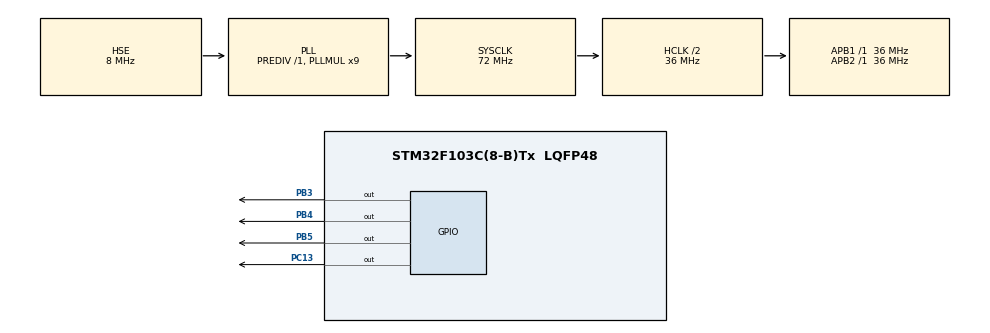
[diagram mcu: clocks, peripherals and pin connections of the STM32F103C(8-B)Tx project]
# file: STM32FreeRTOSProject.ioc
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FREERTOS.Queues01=myQueueForLed,16,uint16_t,0,Dynamic,NULL,NULL
FREERTOS.Tasks01=defaultTask,24,128,StartDefaultTask,Default,NULL,Dynamic,NULL,NULL;task2Led1000mse,24,128,StartTask02,Default,NULL,Dynamic,NULL,NULL;task3LedMessage,24,128,StartTask03,Default,NULL,Dynamic,NULL,NULL;task4LedMessage,24,128,StartTask04,Default,NULL,Dynamic,NULL,NULL
FREERTOS.configTICK_RATE_HZ=1000
FREERTOS.configUSE_PREEMPTION=1
Mcu.Family=STM32F1
Mcu.Name=STM32F103C(8-B)Tx
Mcu.Package=LQFP48
NVIC.PriorityGroup=NVIC_PRIORITYGROUP_4
NVIC.TIM4_IRQn=true\:0\:0\:false\:false\:true\:false\:false\:true
NVIC.TimeBase=TIM4_IRQn
NVIC.TimeBaseIP=TIM4
PB3.Signal=GPIO_Output
PB4.Signal=GPIO_Output
PB5.Signal=GPIO_Output
PC13-TAMPER-RTC.Signal=GPIO_Output
PD0-OSC_IN.Mode=HSE-External-Oscillator
PD0-OSC_IN.Signal=RCC_OSC_IN
PD1-OSC_OUT.Mode=HSE-External-Oscillator
PD1-OSC_OUT.Signal=RCC_OSC_OUT
ProjectManager.HeapSize=0x200
ProjectManager.StackSize=0x400
ProjectManager.TargetToolchain=STM32CubeIDE
RCC.AHBCLKDivider=RCC_SYSCLK_DIV2
RCC.AHBFreq_Value=36000000
RCC.APB1Freq_Value=36000000
RCC.APB1TimFreq_Value=36000000
RCC.APB2Freq_Value=36000000
RCC.APB2TimFreq_Value=36000000
RCC.HCLKFreq_Value=36000000
RCC.PLLMUL=RCC_PLL_MUL9
RCC.PLLSourceVirtual=RCC_PLLSOURCE_HSE
RCC.SYSCLKFreq_VALUE=72000000
RCC.SYSCLKSource=RCC_SYSCLKSOURCE_PLLCLK
RCC.USBFreq_Value=72000000
VP_FREERTOS_VS_CMSIS_V2.Mode=CMSIS_V2
VP_SYS_VS_ND.Mode=No_Debug
VP_SYS_VS_tim4.Mode=TIM4
board=custom

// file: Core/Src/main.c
/* USER CODE BEGIN Header */
/**
  ******************************************************************************
  * @file           : main.c
  * @brief          : Main program body
  ******************************************************************************
  * @attention
  *
  * <h2><center>&copy; Copyright (c) 2020 STMicroelectronics.
  * All rights reserved.</center></h2>
  *
  * This software component is licensed by ST under BSD 3-Clause license,
  * the "License"; You may not use this file except in compliance with the
  * License. You may obtain a copy of the License at:
  *                        opensource.org/licenses/BSD-3-Clause
  *
  ******************************************************************************
  */
/* USER CODE END Header */

#include "main.h"
#include "cmsis_os.h"

/* USER CODE BEGIN PD */
#define DEFAULT_VAL_MSG_QUEUE 3
#define SIGNAL_WAIT_ID	0x0001

#define USE_SIGNAL_WAIT		1
#define USE_MESSAGE_QUEUE	0

#define FLAGS_MSK1 0x00000001U
#define FLAGS_MSK2 0x00000002U
/* USER CODE END PD */

/* Definitions for defaultTask */
osThreadId_t defaultTaskHandle;
const osThreadAttr_t defaultTask_attributes = {
  .name = "defaultTask",
  .priority = (osPriority_t) osPriorityNormal,
  .stack_size = 128 * 4
};
/* Definitions for task2Led1000mse */
osThreadId_t task2Led1000mseHandle;
const osThreadAttr_t task2Led1000mse_attributes = {
  .name = "task2Led1000mse",
  .priority = (osPriority_t) osPriorityNormal,
  .stack_size = 128 * 4
};
/* Definitions for task3LedMessage */
osThreadId_t task3LedMessageHandle;
const osThreadAttr_t task3LedMessage_attributes = {
  .name = "task3LedMessage",
  .priority = (osPriority_t) osPriorityNormal,
  .stack_size = 128 * 4
};
/* Definitions for task4LedMessage */
osThreadId_t task4LedMessageHandle;
const osThreadAttr_t task4LedMessage_attributes = {
  .name = "task4LedMessage",
  .priority = (osPriority_t) osPriorityNormal,
  .stack_size = 128 * 4
};
/* Definitions for myQueueForLed */
osMessageQueueId_t myQueueForLedHandle;
const osMessageQueueAttr_t myQueueForLed_attributes = {
  .name = "myQueueForLed"
};

void SystemClock_Config(void);
static void MX_GPIO_Init(void);
void StartDefaultTask(void *argument);
void StartTask02(void *argument);
void StartTask03(void *argument);
void StartTask04(void *argument);

osEventFlagsId_t evt_id;                        // event flags id

int main(void)
{

  /* MCU Configuration--------------------------------------------------------*/

  /* Reset of all peripherals, Initializes the Flash interface and the Systick. */
  HAL_Init();

  /* Configure the system clock */
  SystemClock_Config();

  /* Initialize all configured peripherals */
  MX_GPIO_Init();

  /* Init scheduler */
  osKernelInitialize();

  /* USER CODE BEGIN RTOS_MUTEX */
  /* add mutexes, ... */
  evt_id = osEventFlagsNew(NULL);
  /* USER CODE END RTOS_MUTEX */

  /* Create the queue(s) */
  /* creation of myQueueForLed */
  myQueueForLedHandle = osMessageQueueNew (16, sizeof(uint16_t), &myQueueForLed_attributes);

  /* Create the thread(s) */
  /* creation of defaultTask */
  defaultTaskHandle = osThreadNew(StartDefaultTask, NULL, &defaultTask_attributes);

  /* creation of task2Led1000mse */
  task2Led1000mseHandle = osThreadNew(StartTask02, NULL, &task2Led1000mse_attributes);

  /* creation of task3LedMessage */
  task3LedMessageHandle = osThreadNew(StartTask03, NULL, &task3LedMessage_attributes);

  /* creation of task4LedMessage */
  task4LedMessageHandle = osThreadNew(StartTask04, NULL, &task4LedMessage_attributes);

  /* Start scheduler */
  osKernelStart();

  /* We should never get here as control is now taken by the scheduler */
  /* Infinite loop */
  while (1)
  {

  }
}

void SystemClock_Config(void)
{
  RCC_OscInitTypeDef RCC_OscInitStruct = {0};
  RCC_ClkInitTypeDef RCC_ClkInitStruct = {0};

  /** Initializes the CPU, AHB and APB busses clocks
  */
  RCC_OscInitStruct.OscillatorType = RCC_OSCILLATORTYPE_HSE;
  RCC_OscInitStruct.HSEState = RCC_HSE_ON;
  RCC_OscInitStruct.HSEPredivValue = RCC_HSE_PREDIV_DIV1;
  RCC_OscInitStruct.HSIState = RCC_HSI_ON;
  RCC_OscInitStruct.PLL.PLLState = RCC_PLL_ON;
  RCC_OscInitStruct.PLL.PLLSource = RCC_PLLSOURCE_HSE;
  RCC_OscInitStruct.PLL.PLLMUL = RCC_PLL_MUL9;
  if (HAL_RCC_OscConfig(&RCC_OscInitStruct) != HAL_OK)
  {
    Error_Handler();
  }
  /** Initializes the CPU, AHB and APB busses clocks
  */
  RCC_ClkInitStruct.ClockType = RCC_CLOCKTYPE_HCLK|RCC_CLOCKTYPE_SYSCLK
                              |RCC_CLOCKTYPE_PCLK1|RCC_CLOCKTYPE_PCLK2;
  RCC_ClkInitStruct.SYSCLKSource = RCC_SYSCLKSOURCE_PLLCLK;
  RCC_ClkInitStruct.AHBCLKDivider = RCC_SYSCLK_DIV2;
  RCC_ClkInitStruct.APB1CLKDivider = RCC_HCLK_DIV1;
  RCC_ClkInitStruct.APB2CLKDivider = RCC_HCLK_DIV1;

  if (HAL_RCC_ClockConfig(&RCC_ClkInitStruct, FLASH_LATENCY_2) != HAL_OK)
  {
    Error_Handler();
  }
}

static void MX_GPIO_Init(void)
{
  GPIO_InitTypeDef GPIO_InitStruct = {0};

  /* GPIO Ports Clock Enable */
  __HAL_RCC_GPIOC_CLK_ENABLE();
  __HAL_RCC_GPIOD_CLK_ENABLE();
  __HAL_RCC_GPIOB_CLK_ENABLE();

  /*Configure GPIO pin Output Level */
  HAL_GPIO_WritePin(GPIOC, GPIO_PIN_13, GPIO_PIN_RESET);

  /*Configure GPIO pin Output Level */
  HAL_GPIO_WritePin(GPIOB, GPIO_PIN_3|GPIO_PIN_4|GPIO_PIN_5, GPIO_PIN_RESET);

  /*Configure GPIO pin : PC13 */
  GPIO_InitStruct.Pin = GPIO_PIN_13;
  GPIO_InitStruct.Mode = GPIO_MODE_OUTPUT_PP;
  GPIO_InitStruct.Pull = GPIO_NOPULL;
  GPIO_InitStruct.Speed = GPIO_SPEED_FREQ_LOW;
  HAL_GPIO_Init(GPIOC, &GPIO_InitStruct);

  /*Configure GPIO pins : PB3 PB4 PB5 */
  GPIO_InitStruct.Pin = GPIO_PIN_3|GPIO_PIN_4|GPIO_PIN_5;
  GPIO_InitStruct.Mode = GPIO_MODE_OUTPUT_PP;
  GPIO_InitStruct.Pull = GPIO_NOPULL;
  GPIO_InitStruct.Speed = GPIO_SPEED_FREQ_LOW;
  HAL_GPIO_Init(GPIOB, &GPIO_InitStruct);

}

/* USER CODE BEGIN */
//-#######-----------------------------
//----#------##----####--#----#--####--
//----#-----#--#--#------#---#--#------
//----#----#----#--####--####----####--
//----#----######------#-#--#--------#-
//----#----#----#-#----#-#---#--#----#-
//----#----#----#--####--#----#--####--
/* USER CODE END */

void StartDefaultTask(void *argument)
{
  /* USER CODE BEGIN 5 */
  /* Infinite loop */
  for(;;)
  {
	HAL_GPIO_TogglePin(GPIOC, GPIO_PIN_13);
	osal_osDelay(500);
	HAL_GPIO_TogglePin(GPIOC, GPIO_PIN_13);
	osal_osDelay(500);
  }
  /* USER CODE END 5 */
}

void StartTask02(void *argument)
{
  /* USER CODE BEGIN StartTask02 */
  /* Infinite loop */
  for(;;)
  {
	HAL_GPIO_TogglePin(GPIOB, GPIO_PIN_3);
	osal_osDelay(1000);
	HAL_GPIO_TogglePin(GPIOB, GPIO_PIN_3);
	osal_osDelay(1000);
  }
  /* USER CODE END StartTask02 */
}

void StartTask03(void *argument)
{
  /* USER CODE BEGIN StartTask03 */
#if USE_MESSAGE_QUEUE
  /* Infinite loop */
  // Send Message Queue
  uint16_t val;
  for(;;)
  {
	HAL_GPIO_TogglePin(GPIOB, GPIO_PIN_4);
	osal_osDelay(3000);
	val = DEFAULT_VAL_MSG_QUEUE;
	osal_osMessageQueuePut(myQueueForLedHandle, &val, NULL, 0U); // task4 will receive this
  }
#endif

#if USE_SIGNAL_WAIT
  /* Infinite loop */
  // Send Message Queue
  for(;;)
  {
	// task4 will receive the event flags
	HAL_GPIO_TogglePin(GPIOB, GPIO_PIN_4);
	osEventFlagsSet(evt_id, FLAGS_MSK1);
	osal_osDelay(3000);
	osEventFlagsSet(evt_id, FLAGS_MSK2);
	osal_osDelay(3000);
  }
#endif

  /* USER CODE END StartTask03 */
}

void StartTask04(void *argument)
{
  /* USER CODE BEGIN StartTask04 */
#if USE_MESSAGE_QUEUE
  uint16_t receivedVal;
  osStatus_t status;
  /* Infinite loop */
  for(;;)
  {
	  receivedVal = 0;
	  status = osal_osMessageQueueGet(myQueueForLedHandle, &receivedVal, NULL, osal_osWaitForever);   // wait for message from task3
	    if (status == osOK && receivedVal == DEFAULT_VAL_MSG_QUEUE)
	    {
	  	  for (int ctr=0;ctr<4;ctr++)
	  		  {
	  		  HAL_GPIO_TogglePin(GPIOB, GPIO_PIN_5);
	  		  osal_osDelay(100);
	  		  }
	    }
  }
#endif

#if USE_SIGNAL_WAIT
  uint32_t flags;
  /* Infinite loop */
  for(;;)
  {
	flags = osEventFlagsWait(evt_id, FLAGS_MSK1|FLAGS_MSK2, osFlagsWaitAny, osWaitForever); // wait for message from task3

	if ((flags & FLAGS_MSK1) || (flags & FLAGS_MSK2))
	//if (flags & FLAGS_MSK1) // test if flag will automatically reset
	{
	  for (int ctr=0;ctr<4;ctr++)
		  {
		  HAL_GPIO_TogglePin(GPIOB, GPIO_PIN_5);
		  osal_osDelay(100);
		  }
	}
  }
#endif

  /* USER CODE END StartTask04 */
}

 /**
  * @brief  Period elapsed callback in non blocking mode
  * @note   This function is called  when TIM4 interrupt took place, inside
  * HAL_TIM_IRQHandler(). It makes a direct call to HAL_IncTick() to increment
  * a global variable "uwTick" used as application time base.
  * @param  htim : TIM handle
  * @retval None
  */
void HAL_TIM_PeriodElapsedCallback(TIM_HandleTypeDef *htim)
{
  if (htim->Instance == TIM4) {
    HAL_IncTick();
  }
}

void Error_Handler(void)
{
}

/************************ (C) COPYRIGHT STMicroelectronics *****END OF FILE****/
